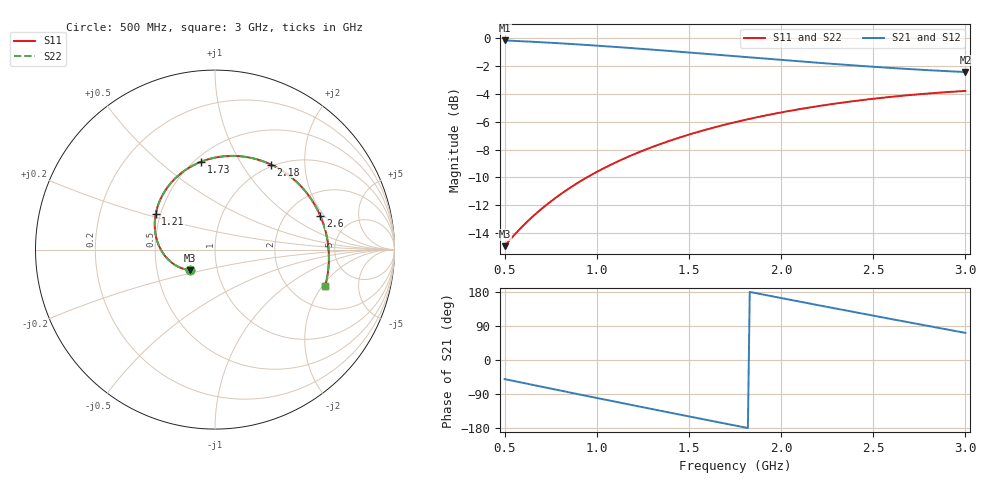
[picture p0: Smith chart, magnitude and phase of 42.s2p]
!freq-unit  param-type  data-format  keyword  impedance-ohms
# GHZ  S  RI  R  50
!Freq  ReS11  ImS11  ReS21  ImS21  ReS12  ImS12  ReS22  ImS22
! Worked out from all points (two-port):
!   251 points, 500 MHz to 3 GHz, reference 50 ohm
!   highest |S21| = -0.16 dB at 500 MHz (marker M1); lowest = -2.4 dB at 3 GHz (marker M2)
!   |S21| within 3 dB of the highest: start of sweep to end of sweep
!   lowest |S11| = -14.9 dB at 500 MHz (marker M3), VSWR 1.44, Z = 37 - j8.69 ohm
!   |S11| at or under -10 dB: start of sweep to 947.1 MHz
!   |S22| runs from -14.9 to -3.8 dB; largest |S21 - S12| = 0
!   S11 on the Smith chart (normalised r, x): 500 MHz: 0.74, -0.17; 1.21 GHz: 0.47, +0.22; 1.73 GHz: 0.54, +0.70; 2.18 GHz: 0.97, +1.36; 2.6 GHz: 3.00, +1.83; 3 GHz: 3.04, -2.14
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0.5  -0.1381 -0.1137  0.6255 -0.7572  0.6255 -0.7572  -0.1381 -0.1137
0.61  -0.1891 -0.1024  0.4655 -0.8562  0.4655 -0.8562  -0.1891 -0.1024
0.71  -0.2339 -0.0781  0.3075 -0.9167  0.3075 -0.9167  -0.2339 -0.0781
0.81  -0.2738 -0.041  0.1433 -0.9477  0.1433 -0.9477  -0.2738 -0.041
0.92  -0.3084 0.0128  -0.0381 -0.9478  -0.0381 -0.9478  -0.3084 0.0128
1.06  -0.3331 0.0966  -0.2593 -0.8984  -0.2593 -0.8984  -0.3331 0.0966
1.21  -0.3303 0.1974  -0.4709 -0.7901  -0.4709 -0.7901  -0.3303 0.1974
1.34  -0.3013 0.2861  -0.6231 -0.6579  -0.6231 -0.6579  -0.3013 0.2861
1.44  -0.2622 0.3504  -0.7164 -0.5374  -0.7164 -0.5374  -0.2622 0.3504
1.54  -0.2095 0.4081  -0.7867 -0.405  -0.7867 -0.405  -0.2095 0.4081
1.73  -0.0775 0.4894  -0.8537 -0.136  -0.8537 -0.136  -0.0775 0.4894
1.75  -0.0616 0.4954  -0.8556 -0.1073  -0.8556 -0.1073  -0.0616 0.4954
1.85  0.0216 0.5163  -0.851 0.0348  -0.851 0.0348  0.0216 0.5163
1.95  0.1095 0.5219  -0.8236 0.1719  -0.8236 0.1719  0.1095 0.5219
2.06  0.2078 0.5095  -0.769 0.3128  -0.769 0.3128  0.2078 0.5095
2.17  0.3039 0.4775  -0.6917 0.4393  -0.6917 0.4393  0.3039 0.4775
2.18  0.3124 0.4737  -0.6836 0.45  -0.6836 0.45  0.3124 0.4737
2.39  0.4735 0.3585  -0.4828 0.6368  -0.4828 0.6368  0.4735 0.3585
2.59  0.5825 0.1977  -0.2521 0.741  -0.2521 0.741  0.5825 0.1977
2.6  0.5865 0.1887  -0.24 0.7442  -0.24 0.7442  0.5865 0.1887
2.8  0.6333 -0.00426  0.00474 0.7678  0.00474 0.7678  0.6333 -0.00426
3  0.6133 -0.2051  0.2395 0.7173  0.2395 0.7173  0.6133 -0.2051
